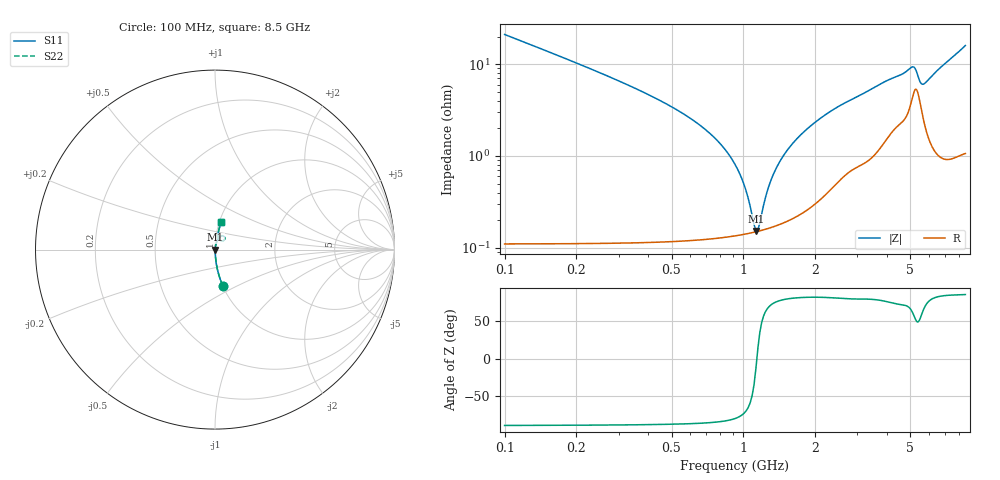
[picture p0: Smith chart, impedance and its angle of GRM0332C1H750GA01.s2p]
!Murata Part Number: GRM0332C1H750GA01
!These Parameters are Measured in Series Mode Connection
!Data Generated on Mar 30, 2021
!  o--ll--o
!Port1  Port2
!  o------o
!Operation Temp=25[degC], DC Bias Voltage=0[V]
!Freq. Start=100[MHz] Stop=9[GHz] 401[Steps]
# Hz S RI R 50
!Freq.(Hz) S11(Real) S11(Imag) S21(Real) S21(Imag) S12(Real) S12(Imag) S22(Real) S22(Imag)
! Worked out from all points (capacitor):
!   401 points, 100 MHz to 8.5 GHz, reference 50 ohm
!   read as one part in series: C = 75 pF near 142 MHz
!   lowest |Z| = 153 mohm at 1.129 GHz (marker M1)
!   series resonance near 1.138 GHz, so ESL is about 260 pH
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1e8  0.0434 -0.2012  0.9566 0.2012  0.9566 0.2012  0.0434 -0.2012
2.05e8  0.011 -0.099  0.989 0.099  0.989 0.099  0.011 -0.099
3.1e8  0.00512 -0.0631  0.9949 0.0631  0.9949 0.0631  0.00512 -0.0631
7.3e8  0.00154 -0.0172  0.9985 0.0172  0.9985 0.0172  0.00154 -0.0172
8.77e8  0.00142 -0.0099  0.9986 0.0099  0.9986 0.0099  0.00142 -0.0099
9.82e8  0.00142 -0.00557  0.9986 0.00557  0.9986 0.00557  0.00142 -0.00557
1.087e9  0.00146 -0.00174  0.9985 0.00174  0.9985 0.00174  0.00146 -0.00174
1.129e9  0.00149 -0.00031  0.9985 0.00031  0.9985 0.00031  0.00149 -0.00031
1.171e9  0.00153 0.00107  0.9985 -0.00107  0.9985 -0.00107  0.00153 0.00107
1.255e9  0.00162 0.0037  0.9984 -0.0037  0.9984 -0.0037  0.00162 0.0037
1.318e9  0.0017 0.00558  0.9983 -0.00558  0.9983 -0.00558  0.0017 0.00558
1.402e9  0.00184 0.00798  0.9982 -0.00798  0.9982 -0.00798  0.00184 0.00798
1.507e9  0.00203 0.0108  0.998 -0.0108  0.998 -0.0108  0.00203 0.0108
1.738e9  0.0026 0.0168  0.9974 -0.0168  0.9974 -0.0168  0.0026 0.0168
2.053e9  0.00377 0.0243  0.9962 -0.0243  0.9962 -0.0243  0.00377 0.0243
2.914e9  0.00894 0.0414  0.9911 -0.0414  0.9911 -0.0414  0.00894 0.0414
4.3e9  0.0238 0.0663  0.9762 -0.0663  0.9762 -0.0663  0.0238 0.0663
5.14e9  0.0503 0.0735  0.9497 -0.0735  0.9497 -0.0735  0.0503 0.0735
5.518e9  0.0368 0.0481  0.9632 -0.0481  0.9632 -0.0481  0.0368 0.0481
5.707e9  0.0257 0.0538  0.9743 -0.0538  0.9743 -0.0538  0.0257 0.0538
7.114e9  0.0198 0.1025  0.9802 -0.1025  0.9802 -0.1025  0.0198 0.1025
8.5e9  0.0346 0.1523  0.9654 -0.1523  0.9654 -0.1523  0.0346 0.1523
